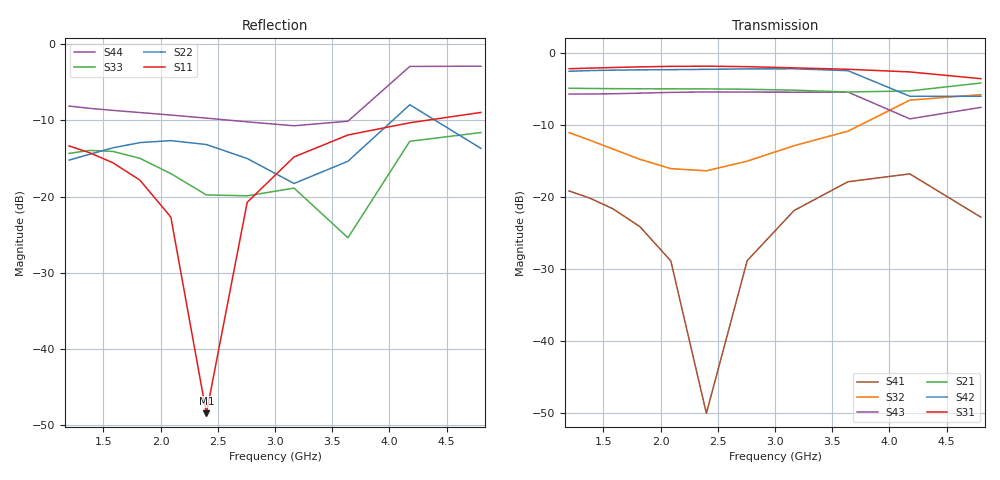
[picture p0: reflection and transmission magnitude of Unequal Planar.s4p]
! Generated by circuitRF - EM: Full-wave planar
! circuitRF-EM setup: Unequal Planar
! circuitRF-EM layout: Unequal/layout/Unequal.clay
! circuitRF-EM written: 2026-11-16 00:10:17Z
! circuitRF-EM stamp: 20261116T001017Z-24c57c0b
! circuitRF-EM geometry: 51fd0b16f23b7537
! circuitRF-EM mesh settings: 099879cdb6ab51d1
! circuitRF-EM ports: 78248c79c92549ec
! circuitRF-EM mesh unknowns: 13552
! circuitRF-EM model: grounded-edge-port-2026-10-14
! Port[1] = 1
! Port[2] = 2
! Port[3] = 3
! Port[4] = R1
! circuitRF-EM port 1: '1' at (0, -13.055 mil), edge, de-embedded, 50 Ohm
! circuitRF-EM port 2: '2' at (1588.3683, 382.6437 mil), edge, de-embedded, 50 Ohm
! circuitRF-EM port 3: '3' at (1587.2984, -382.6437 mil), edge, de-embedded, 50 Ohm
! circuitRF-EM port 4: 'R1' at (711.1983, 6.133 mil), internal delta gap, 50 Ohm
! circuitRF-EM: port N of this file is the label named on the 'port N' line above. A circuit that composes this result binds its nets in that order; two ports of a reciprocal part swapped gives a plausible curve of a different structure.
! Port 1 = P01  1  net=n1  ref=ground  calibrated
! Port 2 = P02  2  net=n3  ref=ground  calibrated
! Port 3 = P03  3  net=n5  ref=ground  calibrated
! Port 4 = P04  R1  net=r2  ref=R1.2  uncalibrated
! DC: none, the lowest row is 1.2 GHz; a circuit's DC solve through this file takes that row as DC
! circuitRF-EM: re-running the EM setup rewrites this file. If circuitRF reports it as stale, the layout's cross-section changed after this file was written.
# GHz S RI R 50
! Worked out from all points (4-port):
!   11 points, 1.2 GHz to 4.8 GHz, reference 50 ohm
!   strongest paths, dB at 1.2 GHz, 1.583 GHz, 2.4 GHz, 3.638 GHz, 4.8 GHz:
!     S31: -2.2, -2.0, -1.9, -2.3, -3.6
!     S42: -2.6, -2.4, -2.3, -2.5, -6.0
!     S21: -4.9, -5.0, -5.0, -5.4, -4.2
!     S43: -5.7, -5.7, -5.4, -5.4, -7.6
!     S32: -11.1, -13.3, -16.4, -10.9, -5.8
!     S41: -19.2, -21.6, -50.0, -17.9, -22.8
!   lowest |S11| = -48.4 dB at 2.4 GHz (marker M1), VSWR 1.01, Z = 49.7 + j0.209 ohm
!   |S11| at or under -10 dB: start of sweep to 4.322 GHz
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1.2  -0.0789 0.2  -0.4167 -0.3864  -0.5161 -0.5792  0.0244 0.1075
     -0.4167 -0.3864  0.1736 -0.00255  -0.2728 -0.0616  0.3604 -0.6519
     -0.5161 -0.5792  -0.2728 -0.0616  -0.00731 0.192  -0.2249 0.4663
     0.0244 0.1075  0.3604 -0.6519  -0.2249 0.4663  0.31 0.241
2.089321  0.0373 0.0633  -0.312 0.4684  -0.4703 0.6542  0.0346 -0.0103
          -0.312 0.4684  0.0547 -0.2265  -0.025 0.1554  -0.4327 -0.63
          -0.4703 0.6542  -0.025 0.1554  0.1154 -0.0821  0.2973 0.4408
          0.0346 -0.0103  -0.4327 -0.63  0.2973 0.4408  0.3415 0.0295
2.4  -0.00316 0.0021  0.0135 0.5619  0.00956 0.8079  0.00214 -0.00234
     0.0135 0.5619  -0.0624 -0.2106  0.0386 0.1471  -0.6359 -0.4308
     0.00956 0.8079  0.0386 0.1471  -0.0234 -0.0999  0.4402 0.3049
     0.00214 -0.00234  -0.6359 -0.4308  0.4402 0.3049  0.3257 -0.0319
2.756876  -0.0913 -0.01  0.3727 0.4166  0.5418 0.591  -0.00122 0.0362
          0.3727 0.4166  -0.1322 -0.1189  0.1262 0.1248  -0.764 -0.1219
          0.5418 0.591  0.1262 0.1248  -0.099 0.0214  0.5259 0.0944
          -0.00122 0.0362  -0.764 -0.1219  0.5259 0.0944  0.2921 -0.1019
3.166819  -0.1699 0.0659  0.5507 0.0176  0.7862 -0.00209  0.0547 0.0593
          0.5507 0.0176  -0.1116 -0.0492  0.2271 0.00432  -0.7222 0.2809
          0.7862 -0.00209  0.2271 0.00432  -0.00576 0.1136  0.5065 -0.1677
          0.0547 0.0593  -0.7222 0.2809  0.5065 -0.1677  0.2214 -0.1897
4.178643  -0.0698 0.297  -0.1374 -0.5266  -0.3563 -0.6452  -0.0185 -0.1436
          -0.1374 -0.5266  -0.2362 0.3234  -0.1664 -0.4395  0.3177 0.3862
          -0.3563 -0.6452  -0.1664 -0.4395  -0.0137 0.2302  -0.1991 -0.2861
          -0.0185 -0.1436  0.3177 0.3862  -0.1991 -0.2861  -0.7119 -0.0585
4.8  0.1601 0.3186  -0.6165 0.0375  -0.6615 0.0183  0.032 -0.0651
     -0.6165 0.0375  0.197 -0.0646  -0.3542 0.371  -0.1328 0.4818
     -0.6615 0.0183  -0.3542 0.371  0.261 -0.0344  0.0745 -0.4121
     0.032 -0.0651  -0.1328 0.4818  0.0745 -0.4121  0.287 0.657
